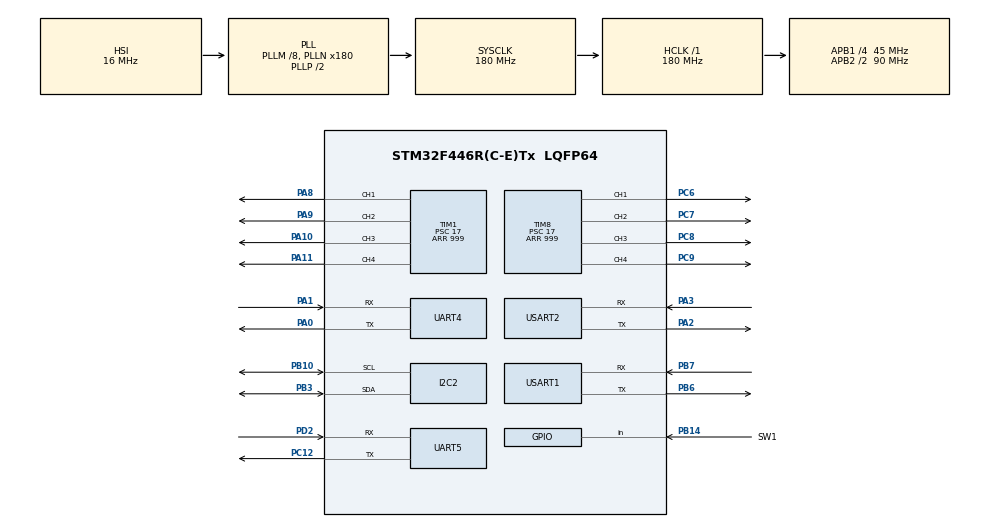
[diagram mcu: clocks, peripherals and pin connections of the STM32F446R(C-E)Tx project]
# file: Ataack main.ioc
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Mcu.Family=STM32F4
Mcu.Name=STM32F446R(C-E)Tx
Mcu.Package=LQFP64
NVIC.PriorityGroup=NVIC_PRIORITYGROUP_4
NVIC.TIM1_BRK_TIM9_IRQn=true\:0\:0\:false\:false\:true\:true\:true\:true
NVIC.TIM1_CC_IRQn=true\:0\:0\:false\:false\:true\:true\:true\:true
NVIC.TIM1_TRG_COM_TIM11_IRQn=true\:0\:0\:false\:false\:true\:true\:true\:true
NVIC.TIM1_UP_TIM10_IRQn=true\:0\:0\:false\:false\:true\:true\:true\:true
NVIC.TIM8_BRK_TIM12_IRQn=true\:0\:0\:false\:false\:true\:true\:true\:true
NVIC.TIM8_CC_IRQn=true\:0\:0\:false\:false\:true\:true\:true\:true
NVIC.TIM8_TRG_COM_TIM14_IRQn=true\:0\:0\:false\:false\:true\:true\:true\:true
NVIC.TIM8_UP_TIM13_IRQn=true\:0\:0\:false\:false\:true\:true\:true\:true
NVIC.UART4_IRQn=true\:0\:0\:false\:false\:true\:true\:true\:true
NVIC.UART5_IRQn=true\:0\:0\:false\:false\:true\:true\:true\:true
NVIC.USART1_IRQn=true\:0\:0\:false\:false\:true\:true\:true\:true
NVIC.USART2_IRQn=true\:0\:0\:false\:false\:true\:true\:true\:true
PA0-WKUP.Mode=Asynchronous
PA0-WKUP.Signal=UART4_TX
PA1.Mode=Asynchronous
PA1.Signal=UART4_RX
PA10.Signal=S_TIM1_CH3
PA11.Signal=S_TIM1_CH4
PA2.Mode=Asynchronous
PA2.Signal=USART2_TX
PA3.Mode=Asynchronous
PA3.Signal=USART2_RX
PA8.Signal=S_TIM1_CH1
PA9.Signal=S_TIM1_CH2
PB10.Mode=I2C
PB10.Signal=I2C2_SCL
PB14.GPIO_Label=SW1
PB14.Signal=GPIO_Input
PB3.Mode=I2C
PB3.Signal=I2C2_SDA
PB6.Mode=Asynchronous
PB6.Signal=USART1_TX
PB7.Mode=Asynchronous
PB7.Signal=USART1_RX
PC12.Mode=Asynchronous
PC12.Signal=UART5_TX
PC6.Signal=S_TIM8_CH1
PC7.Signal=S_TIM8_CH2
PC8.Signal=S_TIM8_CH3
PC9.Signal=S_TIM8_CH4
PD2.Mode=Asynchronous
PD2.Signal=UART5_RX
ProjectManager.HeapSize=0x200
ProjectManager.StackSize=0x400
ProjectManager.TargetToolchain=STM32CubeIDE
RCC.AHBFreq_Value=180000000
RCC.APB1CLKDivider=RCC_HCLK_DIV4
RCC.APB1Freq_Value=45000000
RCC.APB1TimFreq_Value=90000000
RCC.APB2CLKDivider=RCC_HCLK_DIV2
RCC.APB2Freq_Value=90000000
RCC.APB2TimFreq_Value=180000000
RCC.CortexFreq_Value=180000000
RCC.HCLKFreq_Value=180000000
RCC.PLLM=8
RCC.PLLN=180
RCC.SYSCLKFreq_VALUE=180000000
RCC.SYSCLKSource=RCC_SYSCLKSOURCE_PLLCLK
RCC.USBFreq_Value=180000000
RCC.VCOOutputFreq_Value=360000000
SH.S_TIM1_CH1.0=TIM1_CH1,PWM Generation1 CH1
SH.S_TIM1_CH2.0=TIM1_CH2,PWM Generation2 CH2
SH.S_TIM1_CH3.0=TIM1_CH3,PWM Generation3 CH3
SH.S_TIM1_CH4.0=TIM1_CH4,PWM Generation4 CH4
SH.S_TIM8_CH1.0=TIM8_CH1,PWM Generation1 CH1
SH.S_TIM8_CH2.0=TIM8_CH2,PWM Generation2 CH2
SH.S_TIM8_CH3.0=TIM8_CH3,PWM Generation3 CH3
SH.S_TIM8_CH4.0=TIM8_CH4,PWM Generation4 CH4
TIM1.Channel-PWM\ Generation1\ CH1=TIM_CHANNEL_1
TIM1.Channel-PWM\ Generation2\ CH2=TIM_CHANNEL_2
TIM1.Channel-PWM\ Generation3\ CH3=TIM_CHANNEL_3
TIM1.Channel-PWM\ Generation4\ CH4=TIM_CHANNEL_4
TIM1.OC1Preload_PWM=ENABLE
TIM1.Period=999
TIM1.Prescaler=17
TIM8.Channel-PWM\ Generation1\ CH1=TIM_CHANNEL_1
TIM8.Channel-PWM\ Generation2\ CH2=TIM_CHANNEL_2
TIM8.Channel-PWM\ Generation3\ CH3=TIM_CHANNEL_3
TIM8.Channel-PWM\ Generation4\ CH4=TIM_CHANNEL_4
TIM8.Period=999
TIM8.Prescaler=17
UART4.VirtualMode=Asynchronous
UART5.VirtualMode=Asynchronous
USART1.VirtualMode=VM_ASYNC
USART2.VirtualMode=VM_ASYNC
VP_TIM1_VS_ClockSourceINT.Mode=Internal
VP_TIM8_VS_ClockSourceINT.Mode=Internal
board=custom

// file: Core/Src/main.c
//元のメイン
/* USER CODE BEGIN Header */
/**
  ******************************************************************************
  * @file           : main.c
  * @brief          : Main program body
  ******************************************************************************
  * @attention
  *
  * Copyright (c) 2026 STMicroelectronics.
  * All rights reserved.
  *
  * This software is licensed under terms that can be found in the LICENSE file
  * in the root directory of this software component.
  * If no LICENSE file comes with this software, it is provided AS-IS.
  *
  ******************************************************************************
  */
/* USER CODE END Header */
#include "main.h"

/* USER CODE BEGIN Includes */
#include <math.h>
#include <string.h>
#include <stdlib.h>
#include "motor.h"
#include "sensor.h"
#include "attack.h"
/* USER CODE END Includes */

I2C_HandleTypeDef hi2c2;

TIM_HandleTypeDef htim1;
TIM_HandleTypeDef htim8;

UART_HandleTypeDef huart4;
UART_HandleTypeDef huart5;
UART_HandleTypeDef huart1;
UART_HandleTypeDef huart2;

/* USER CODE BEGIN PV */
static uint8_t sw_running = 0;
static uint8_t sw_prev    = 0;
/* USER CODE END PV */

void SystemClock_Config(void);
static void MX_GPIO_Init(void);
static void MX_TIM1_Init(void);
static void MX_TIM8_Init(void);
static void MX_UART4_Init(void);
static void MX_USART1_UART_Init(void);
static void MX_I2C2_Init(void);
static void MX_UART5_Init(void);
static void MX_USART2_UART_Init(void);

int main(void)
{

  /* MCU Configuration--------------------------------------------------------*/

  /* Reset of all peripherals, Initializes the Flash interface and the Systick. */
  HAL_Init();

  /* Configure the system clock */
  SystemClock_Config();

  /* Initialize all configured peripherals */
  MX_GPIO_Init();
  MX_TIM1_Init();
  MX_TIM8_Init();
  MX_UART4_Init();
  MX_USART1_UART_Init();
  MX_I2C2_Init();
  MX_UART5_Init();
  MX_USART2_UART_Init();
  /* USER CODE BEGIN 2 */
  HAL_TIM_PWM_Start(&htim1, TIM_CHANNEL_1);
  HAL_TIM_PWM_Start(&htim1, TIM_CHANNEL_2);
  HAL_TIM_PWM_Start(&htim1, TIM_CHANNEL_3);
  HAL_TIM_PWM_Start(&htim1, TIM_CHANNEL_4);
  HAL_TIM_PWM_Start(&htim8, TIM_CHANNEL_1);
  HAL_TIM_PWM_Start(&htim8, TIM_CHANNEL_2);
  HAL_TIM_PWM_Start(&htim8, TIM_CHANNEL_3);
  HAL_TIM_PWM_Start(&htim8, TIM_CHANNEL_4);
  BNO055_Init();
  Sensor_InitYawOffset();

//攻めたいゴールの色設定
  attack_goal_color = ATTACK_BLUE;
  //attack_goal_color = ATTACK_YELLOW;
  /* USER CODE END 2 */

  /* Infinite loop */
  /* USER CODE BEGIN WHILE */
  while (1)
    {
      uint8_t sw_now = (HAL_GPIO_ReadPin(GPIOB, GPIO_PIN_14) == GPIO_PIN_SET) ? 1 : 0;
      if (sw_now == 1 && sw_prev == 0)
      {
          sw_running = !sw_running;
          HAL_Delay(20);
      }
      sw_prev = sw_now;

      // ---- 動作中のみ制御 ----
      if (sw_running == 1)
      {
          Sensor_Update();
          float omega = Sensor_GetOmega(goal_blue_angle, goal_blue_detected);
          Attack_Update(omega);
      }
      else
      {
          // スイ?  ?チOFF ??  ?  ? 全停止
          Omni_Drive(0.0f, 0.0f, 0.0f);
      }

      HAL_Delay(5);
  }
    /* USER CODE END WHILE */

}

void SystemClock_Config(void)
{
  RCC_OscInitTypeDef RCC_OscInitStruct = {0};
  RCC_ClkInitTypeDef RCC_ClkInitStruct = {0};

  /** Configure the main internal regulator output voltage
  */
  __HAL_RCC_PWR_CLK_ENABLE();
  __HAL_PWR_VOLTAGESCALING_CONFIG(PWR_REGULATOR_VOLTAGE_SCALE1);

  /** Initializes the RCC Oscillators according to the specified parameters
  * in the RCC_OscInitTypeDef structure.
  */
  RCC_OscInitStruct.OscillatorType = RCC_OSCILLATORTYPE_HSI;
  RCC_OscInitStruct.HSIState = RCC_HSI_ON;
  RCC_OscInitStruct.HSICalibrationValue = RCC_HSICALIBRATION_DEFAULT;
  RCC_OscInitStruct.PLL.PLLState = RCC_PLL_ON;
  RCC_OscInitStruct.PLL.PLLSource = RCC_PLLSOURCE_HSI;
  RCC_OscInitStruct.PLL.PLLM = 8;
  RCC_OscInitStruct.PLL.PLLN = 180;
  RCC_OscInitStruct.PLL.PLLP = RCC_PLLP_DIV2;
  RCC_OscInitStruct.PLL.PLLQ = 2;
  RCC_OscInitStruct.PLL.PLLR = 2;
  if (HAL_RCC_OscConfig(&RCC_OscInitStruct) != HAL_OK)
  {
    Error_Handler();
  }

  /** Activate the Over-Drive mode
  */
  if (HAL_PWREx_EnableOverDrive() != HAL_OK)
  {
    Error_Handler();
  }

  /** Initializes the CPU, AHB and APB buses clocks
  */
  RCC_ClkInitStruct.ClockType = RCC_CLOCKTYPE_HCLK|RCC_CLOCKTYPE_SYSCLK
                              |RCC_CLOCKTYPE_PCLK1|RCC_CLOCKTYPE_PCLK2;
  RCC_ClkInitStruct.SYSCLKSource = RCC_SYSCLKSOURCE_PLLCLK;
  RCC_ClkInitStruct.AHBCLKDivider = RCC_SYSCLK_DIV1;
  RCC_ClkInitStruct.APB1CLKDivider = RCC_HCLK_DIV4;
  RCC_ClkInitStruct.APB2CLKDivider = RCC_HCLK_DIV2;

  if (HAL_RCC_ClockConfig(&RCC_ClkInitStruct, FLASH_LATENCY_5) != HAL_OK)
  {
    Error_Handler();
  }
}

static void MX_I2C2_Init(void)
{

  hi2c2.Instance = I2C2;
  hi2c2.Init.ClockSpeed = 100000;
  hi2c2.Init.DutyCycle = I2C_DUTYCYCLE_2;
  hi2c2.Init.OwnAddress1 = 0;
  hi2c2.Init.AddressingMode = I2C_ADDRESSINGMODE_7BIT;
  hi2c2.Init.DualAddressMode = I2C_DUALADDRESS_DISABLE;
  hi2c2.Init.OwnAddress2 = 0;
  hi2c2.Init.GeneralCallMode = I2C_GENERALCALL_DISABLE;
  hi2c2.Init.NoStretchMode = I2C_NOSTRETCH_DISABLE;
  if (HAL_I2C_Init(&hi2c2) != HAL_OK)
  {
    Error_Handler();
  }

}

static void MX_TIM1_Init(void)
{

  TIM_ClockConfigTypeDef sClockSourceConfig = {0};
  TIM_MasterConfigTypeDef sMasterConfig = {0};
  TIM_OC_InitTypeDef sConfigOC = {0};
  TIM_BreakDeadTimeConfigTypeDef sBreakDeadTimeConfig = {0};

  htim1.Instance = TIM1;
  htim1.Init.Prescaler = 17;
  htim1.Init.CounterMode = TIM_COUNTERMODE_UP;
  htim1.Init.Period = 999;
  htim1.Init.ClockDivision = TIM_CLOCKDIVISION_DIV1;
  htim1.Init.RepetitionCounter = 0;
  htim1.Init.AutoReloadPreload = TIM_AUTORELOAD_PRELOAD_DISABLE;
  if (HAL_TIM_Base_Init(&htim1) != HAL_OK)
  {
    Error_Handler();
  }
  sClockSourceConfig.ClockSource = TIM_CLOCKSOURCE_INTERNAL;
  if (HAL_TIM_ConfigClockSource(&htim1, &sClockSourceConfig) != HAL_OK)
  {
    Error_Handler();
  }
  if (HAL_TIM_PWM_Init(&htim1) != HAL_OK)
  {
    Error_Handler();
  }
  sMasterConfig.MasterOutputTrigger = TIM_TRGO_RESET;
  sMasterConfig.MasterSlaveMode = TIM_MASTERSLAVEMODE_DISABLE;
  if (HAL_TIMEx_MasterConfigSynchronization(&htim1, &sMasterConfig) != HAL_OK)
  {
    Error_Handler();
  }
  sConfigOC.OCMode = TIM_OCMODE_PWM1;
  sConfigOC.Pulse = 0;
  sConfigOC.OCPolarity = TIM_OCPOLARITY_HIGH;
  sConfigOC.OCNPolarity = TIM_OCNPOLARITY_HIGH;
  sConfigOC.OCFastMode = TIM_OCFAST_DISABLE;
  sConfigOC.OCIdleState = TIM_OCIDLESTATE_RESET;
  sConfigOC.OCNIdleState = TIM_OCNIDLESTATE_RESET;
  if (HAL_TIM_PWM_ConfigChannel(&htim1, &sConfigOC, TIM_CHANNEL_1) != HAL_OK)
  {
    Error_Handler();
  }
  if (HAL_TIM_PWM_ConfigChannel(&htim1, &sConfigOC, TIM_CHANNEL_2) != HAL_OK)
  {
    Error_Handler();
  }
  if (HAL_TIM_PWM_ConfigChannel(&htim1, &sConfigOC, TIM_CHANNEL_3) != HAL_OK)
  {
    Error_Handler();
  }
  if (HAL_TIM_PWM_ConfigChannel(&htim1, &sConfigOC, TIM_CHANNEL_4) != HAL_OK)
  {
    Error_Handler();
  }
  sBreakDeadTimeConfig.OffStateRunMode = TIM_OSSR_DISABLE;
  sBreakDeadTimeConfig.OffStateIDLEMode = TIM_OSSI_DISABLE;
  sBreakDeadTimeConfig.LockLevel = TIM_LOCKLEVEL_OFF;
  sBreakDeadTimeConfig.DeadTime = 0;
  sBreakDeadTimeConfig.BreakState = TIM_BREAK_DISABLE;
  sBreakDeadTimeConfig.BreakPolarity = TIM_BREAKPOLARITY_HIGH;
  sBreakDeadTimeConfig.AutomaticOutput = TIM_AUTOMATICOUTPUT_DISABLE;
  if (HAL_TIMEx_ConfigBreakDeadTime(&htim1, &sBreakDeadTimeConfig) != HAL_OK)
  {
    Error_Handler();
  }
  /* USER CODE BEGIN TIM1_Init 2 */
  sBreakDeadTimeConfig.AutomaticOutput = TIM_AUTOMATICOUTPUT_ENABLE;
  HAL_TIMEx_ConfigBreakDeadTime(&htim1, &sBreakDeadTimeConfig);
  /* USER CODE END TIM1_Init 2 */
  HAL_TIM_MspPostInit(&htim1);

}

static void MX_TIM8_Init(void)
{

  TIM_ClockConfigTypeDef sClockSourceConfig = {0};
  TIM_MasterConfigTypeDef sMasterConfig = {0};
  TIM_OC_InitTypeDef sConfigOC = {0};
  TIM_BreakDeadTimeConfigTypeDef sBreakDeadTimeConfig = {0};

  htim8.Instance = TIM8;
  htim8.Init.Prescaler = 17;
  htim8.Init.CounterMode = TIM_COUNTERMODE_UP;
  htim8.Init.Period = 999;
  htim8.Init.ClockDivision = TIM_CLOCKDIVISION_DIV1;
  htim8.Init.RepetitionCounter = 0;
  htim8.Init.AutoReloadPreload = TIM_AUTORELOAD_PRELOAD_DISABLE;
  if (HAL_TIM_Base_Init(&htim8) != HAL_OK)
  {
    Error_Handler();
  }
  sClockSourceConfig.ClockSource = TIM_CLOCKSOURCE_INTERNAL;
  if (HAL_TIM_ConfigClockSource(&htim8, &sClockSourceConfig) != HAL_OK)
  {
    Error_Handler();
  }
  if (HAL_TIM_PWM_Init(&htim8) != HAL_OK)
  {
    Error_Handler();
  }
  sMasterConfig.MasterOutputTrigger = TIM_TRGO_RESET;
  sMasterConfig.MasterSlaveMode = TIM_MASTERSLAVEMODE_DISABLE;
  if (HAL_TIMEx_MasterConfigSynchronization(&htim8, &sMasterConfig) != HAL_OK)
  {
    Error_Handler();
  }
  sConfigOC.OCMode = TIM_OCMODE_PWM1;
  sConfigOC.Pulse = 0;
  sConfigOC.OCPolarity = TIM_OCPOLARITY_HIGH;
  sConfigOC.OCNPolarity = TIM_OCNPOLARITY_HIGH;
  sConfigOC.OCFastMode = TIM_OCFAST_DISABLE;
  sConfigOC.OCIdleState = TIM_OCIDLESTATE_RESET;
  sConfigOC.OCNIdleState = TIM_OCNIDLESTATE_RESET;
  if (HAL_TIM_PWM_ConfigChannel(&htim8, &sConfigOC, TIM_CHANNEL_1) != HAL_OK)
  {
    Error_Handler();
  }
  if (HAL_TIM_PWM_ConfigChannel(&htim8, &sConfigOC, TIM_CHANNEL_2) != HAL_OK)
  {
    Error_Handler();
  }
  if (HAL_TIM_PWM_ConfigChannel(&htim8, &sConfigOC, TIM_CHANNEL_3) != HAL_OK)
  {
    Error_Handler();
  }
  if (HAL_TIM_PWM_ConfigChannel(&htim8, &sConfigOC, TIM_CHANNEL_4) != HAL_OK)
  {
    Error_Handler();
  }
  sBreakDeadTimeConfig.OffStateRunMode = TIM_OSSR_DISABLE;
  sBreakDeadTimeConfig.OffStateIDLEMode = TIM_OSSI_DISABLE;
  sBreakDeadTimeConfig.LockLevel = TIM_LOCKLEVEL_OFF;
  sBreakDeadTimeConfig.DeadTime = 0;
  sBreakDeadTimeConfig.BreakState = TIM_BREAK_DISABLE;
  sBreakDeadTimeConfig.BreakPolarity = TIM_BREAKPOLARITY_HIGH;
  sBreakDeadTimeConfig.AutomaticOutput = TIM_AUTOMATICOUTPUT_DISABLE;
  if (HAL_TIMEx_ConfigBreakDeadTime(&htim8, &sBreakDeadTimeConfig) != HAL_OK)
  {
    Error_Handler();
  }
  /* USER CODE BEGIN TIM8_Init 2 */
  sBreakDeadTimeConfig.AutomaticOutput = TIM_AUTOMATICOUTPUT_ENABLE;
  HAL_TIMEx_ConfigBreakDeadTime(&htim8, &sBreakDeadTimeConfig);
  /* USER CODE END TIM8_Init 2 */
  HAL_TIM_MspPostInit(&htim8);

}

static void MX_UART4_Init(void)
{

  huart4.Instance = UART4;
  huart4.Init.BaudRate = 115200;
  huart4.Init.WordLength = UART_WORDLENGTH_8B;
  huart4.Init.StopBits = UART_STOPBITS_1;
  huart4.Init.Parity = UART_PARITY_NONE;
  huart4.Init.Mode = UART_MODE_TX_RX;
  huart4.Init.HwFlowCtl = UART_HWCONTROL_NONE;
  huart4.Init.OverSampling = UART_OVERSAMPLING_16;
  if (HAL_UART_Init(&huart4) != HAL_OK)
  {
    Error_Handler();
  }

}

static void MX_UART5_Init(void)
{

  huart5.Instance = UART5;
  huart5.Init.BaudRate = 115200;
  huart5.Init.WordLength = UART_WORDLENGTH_8B;
  huart5.Init.StopBits = UART_STOPBITS_1;
  huart5.Init.Parity = UART_PARITY_NONE;
  huart5.Init.Mode = UART_MODE_TX_RX;
  huart5.Init.HwFlowCtl = UART_HWCONTROL_NONE;
  huart5.Init.OverSampling = UART_OVERSAMPLING_16;
  if (HAL_UART_Init(&huart5) != HAL_OK)
  {
    Error_Handler();
  }

}

static void MX_USART1_UART_Init(void)
{

  huart1.Instance = USART1;
  huart1.Init.BaudRate = 115200;
  huart1.Init.WordLength = UART_WORDLENGTH_8B;
  huart1.Init.StopBits = UART_STOPBITS_1;
  huart1.Init.Parity = UART_PARITY_NONE;
  huart1.Init.Mode = UART_MODE_TX_RX;
  huart1.Init.HwFlowCtl = UART_HWCONTROL_NONE;
  huart1.Init.OverSampling = UART_OVERSAMPLING_16;
  if (HAL_UART_Init(&huart1) != HAL_OK)
  {
    Error_Handler();
  }

}

static void MX_USART2_UART_Init(void)
{

  huart2.Instance = USART2;
  huart2.Init.BaudRate = 115200;
  huart2.Init.WordLength = UART_WORDLENGTH_8B;
  huart2.Init.StopBits = UART_STOPBITS_1;
  huart2.Init.Parity = UART_PARITY_NONE;
  huart2.Init.Mode = UART_MODE_TX_RX;
  huart2.Init.HwFlowCtl = UART_HWCONTROL_NONE;
  huart2.Init.OverSampling = UART_OVERSAMPLING_16;
  if (HAL_UART_Init(&huart2) != HAL_OK)
  {
    Error_Handler();
  }

}

static void MX_GPIO_Init(void)
{
  GPIO_InitTypeDef GPIO_InitStruct = {0};

  /* GPIO Ports Clock Enable */
  __HAL_RCC_GPIOA_CLK_ENABLE();
  __HAL_RCC_GPIOB_CLK_ENABLE();
  __HAL_RCC_GPIOC_CLK_ENABLE();
  __HAL_RCC_GPIOD_CLK_ENABLE();

  /*Configure GPIO pin : SW1_Pin */
  GPIO_InitStruct.Pin = SW1_Pin;
  GPIO_InitStruct.Mode = GPIO_MODE_INPUT;
  GPIO_InitStruct.Pull = GPIO_NOPULL;
  HAL_GPIO_Init(SW1_GPIO_Port, &GPIO_InitStruct);

}

void Error_Handler(void)
{
  __disable_irq();
  while (1)
  {
  }
}
